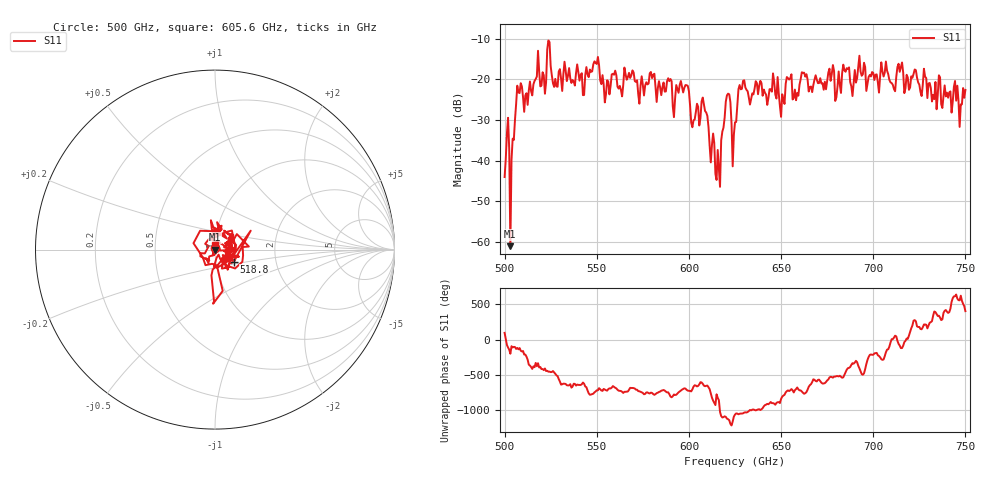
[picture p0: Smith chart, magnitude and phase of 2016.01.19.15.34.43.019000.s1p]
!Created with skrf (http://scikit-rf.org).
# GHz S RI R 50.0
!freq ReS11 ImS11
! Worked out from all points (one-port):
!   401 points, 500 GHz to 750 GHz, reference 50 ohm
!   lowest |S11| = -61.1 dB at 503.1 GHz (marker M1), VSWR 1.00, Z = 49.9 + j0.0271 ohm
!   |S11| at or under -10 dB: start of sweep to end of sweep
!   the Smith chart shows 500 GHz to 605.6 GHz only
!   S11 on the Smith chart (normalised r, x): 500 GHz: 1.00, +0.01; 518.8 GHz: 1.22, -0.17; 605.6 GHz: 1.00, +0.05
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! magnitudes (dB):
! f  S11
! 500 GHz  -44.0
! 501.2 GHz  -33.4
! 503.1 GHz  -61.1
! 504.4 GHz  -34.6
! 505.6 GHz  -30.0
! 508.1 GHz  -23.4
! 511.2 GHz  -23.9
! 518.8 GHz  -18.1
! 524.4 GHz  -10.8
! 527.5 GHz  -19.9
! 531.2 GHz  -22.8
! 550 GHz  -16.2
! 553.8 GHz  -21.3
! 562.5 GHz  -21.6
! 593.8 GHz  -22.3
! 605.6 GHz  -31.3
! 608.8 GHz  -27.8
! 615.6 GHz  -37.4
! 621.2 GHz  -23.5
! 625 GHz  -30.6
! 628.8 GHz  -22.3
! 650.6 GHz  -23.7
! 656.2 GHz  -24.9
! 687.5 GHz  -20.7
! 710.6 GHz  -21.3
! 714.4 GHz  -18.1
! 718.8 GHz  -19.6
! 750 GHz  -22.6
